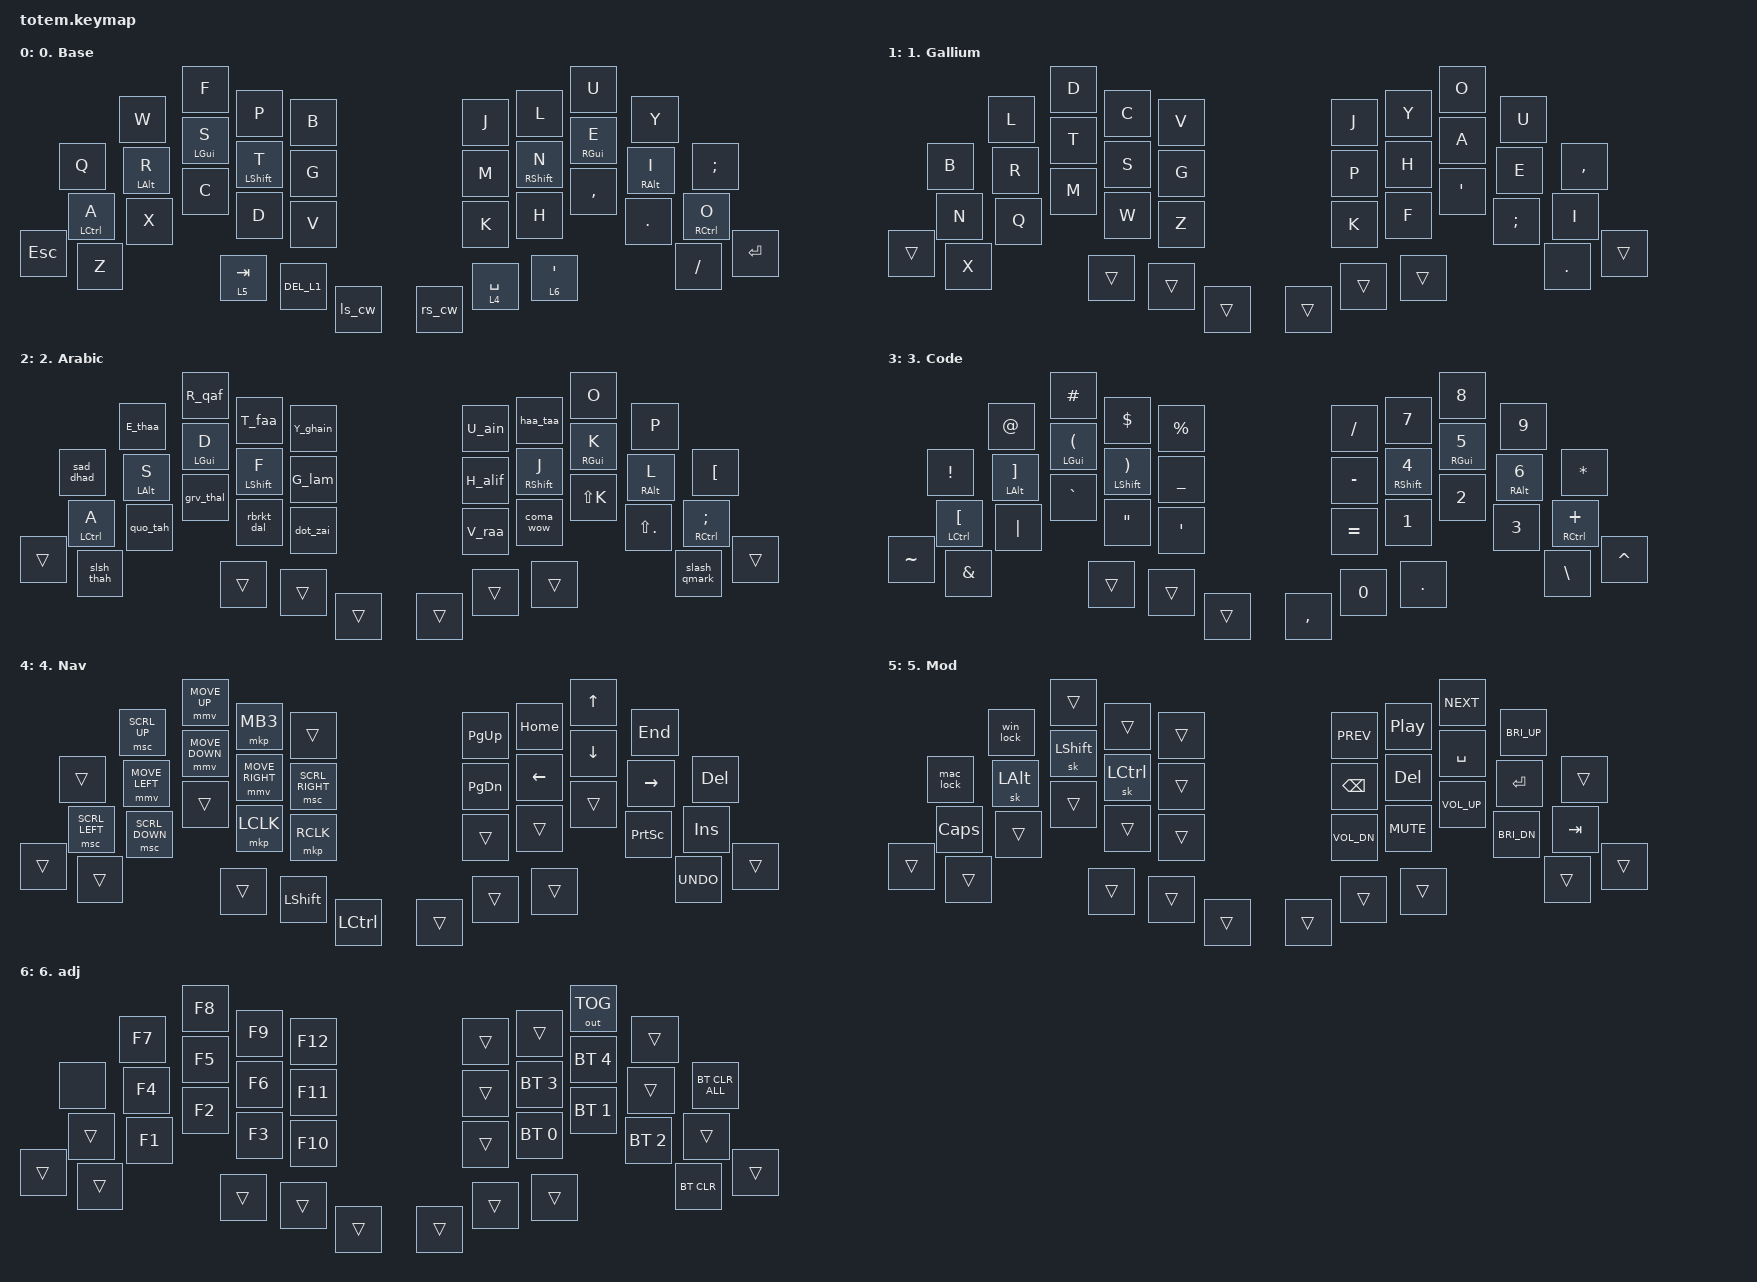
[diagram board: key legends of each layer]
#include <dt-bindings/zmk/mouse.h>
#include <behaviors.dtsi>
#include <dt-bindings/zmk/bt.h>
#include <dt-bindings/zmk/keys.h>
#include <dt-bindings/zmk/outputs.h>
#include <dt-bindings/zmk/pointing.h>

#define BASE 0
#define CODE 1
#define NAV  2
#define MOD  3
#define ADJ  4

/ {
    behaviors {
        hml: homerow_mods_left {
            compatible = "zmk,behavior-hold-tap";
            #binding-cells = <2>;
            tapping-term-ms = <200>;
            quick-tap-ms = <175>;
            require-prior-idle-ms = <300>;
            flavor = "balanced";
            bindings = <&kp>, <&kp>;

            hold-trigger-key-positions = <5 6 7 8 9 15 16 17 18 19 26 27 28 29 30 31 35 36 37>;
            hold-trigger-on-release;
        };

        hmr: homerow_mods_right {
            compatible = "zmk,behavior-hold-tap";
            #binding-cells = <2>;
            tapping-term-ms = <200>;
            quick-tap-ms = <175>;
            require-prior-idle-ms = <300>;
            flavor = "balanced";
            bindings = <&kp>, <&kp>;

            hold-trigger-key-positions = <0 1 2 3 4 10 11 12 13 14 20 21 22 23 24 25 32 33 34>;
            hold-trigger-on-release;
        };

        td_bs_pipe: backslash_pipe {
            compatible = "zmk,behavior-hold-tap";
            #binding-cells = <2>;
            tapping-term-ms = <200>;
            flavor = "tap-preferred";
            bindings = <&kp>, <&kp>;
        };

        DEL_L1: DEL_L1 {
            compatible = "zmk,behavior-tap-dance";
            label = "DEL_L1";
            #binding-cells = <0>;
            bindings = <&lt 3 BACKSPACE>, <&kp LC(BACKSPACE)>;
        };

        ls_cw: ls_cw {
            compatible = "zmk,behavior-tap-dance";
            label = "LS_CW";
            #binding-cells = <0>;
            bindings = <&sk LSHFT>, <&caps_word>;
        };

        rs_cw: rs_cw {
            compatible = "zmk,behavior-tap-dance";
            label = "RS_CW";
            #binding-cells = <0>;
            bindings = <&sk RSHFT>, <&caps_word>;
        };

        slsh_thah: slsh_thah {
            compatible = "zmk,behavior-mod-morph";
            label = "SLSH_THAH";
            bindings = <&kp SLASH>, <&none>;

            #binding-cells = <0>;
            mods = <(MOD_RSFT|MOD_LSFT)>;
        };

        quo_tah: quo_tah {
            compatible = "zmk,behavior-mod-morph";
            label = "QUO_TAH";
            bindings = <&kp SINGLE_QUOTE>, <&kp N>;

            #binding-cells = <0>;
            mods = <(MOD_RSFT)>;
        };

        grv_thal: grv_thal {
            compatible = "zmk,behavior-mod-morph";
            label = "GRV_THAL";
            bindings = <&kp GRAVE>, <&kp Z>;

            #binding-cells = <0>;
            mods = <(MOD_RSFT)>;
        };

        rbrkt_dal: rbrkt_dal {
            compatible = "zmk,behavior-mod-morph";
            label = "RBRKT_DAL";
            bindings = <&kp RBKT>, <&kp X>;

            #binding-cells = <0>;
            mods = <(MOD_RSFT)>;
        };

        dot_zai: dot_zai {
            compatible = "zmk,behavior-mod-morph";
            label = "DOT_ZAI";
            bindings = <&kp DOT>, <&kp H>;

            #binding-cells = <0>;
            mods = <(MOD_RSFT)>;
            keep-mods = <(MOD_RSFT)>;
        };

        V_raa: V_raa {
            compatible = "zmk,behavior-mod-morph";
            label = "V_RAA";
            bindings = <&kp V>, <&kp Y>;

            #binding-cells = <0>;
            mods = <(MOD_LSFT)>;
            keep-mods = <(MOD_LSFT)>;
        };

        coma_wow: coma_wow {
            compatible = "zmk,behavior-mod-morph";
            label = "COMA_WOW";
            bindings = <&kp COMMA>, <&kp C>;

            #binding-cells = <0>;
            mods = <(MOD_LSFT)>;
        };

        E_thaa: E_thaa {
            compatible = "zmk,behavior-mod-morph";
            label = "E_THAA";
            bindings = <&kp E>, <&kp A>;

            #binding-cells = <0>;
            mods = <(MOD_RSFT)>;
            keep-mods = <(MOD_RSFT)>;
        };

        R_qaf: R_qaf {
            compatible = "zmk,behavior-mod-morph";
            label = "R_QAF";
            bindings = <&kp R>, <&kp S>;

            #binding-cells = <0>;
            mods = <(MOD_RSFT)>;
            keep-mods = <(MOD_RSFT)>;
        };

        T_faa: T_faa {
            compatible = "zmk,behavior-mod-morph";
            label = "T_FAA";
            bindings = <&kp T>, <&kp E>;

            #binding-cells = <0>;
            mods = <(MOD_RSFT)>;
            keep-mods = <(MOD_RSFT)>;
        };

        Y_ghain: Y_ghain {
            compatible = "zmk,behavior-mod-morph";
            label = "Y_GHAIN";
            bindings = <&kp Y>, <&kp R>;

            #binding-cells = <0>;
            mods = <(MOD_RSFT)>;
            keep-mods = <(MOD_RSFT)>;
        };

        U_ain: U_ain {
            compatible = "zmk,behavior-mod-morph";
            label = "U_AIN";
            bindings = <&kp U>, <&kp X>;

            #binding-cells = <0>;
            mods = <(MOD_LSFT)>;
            keep-mods = <(MOD_LSFT)>;
        };

        I_haa: I_haa {
            compatible = "zmk,behavior-mod-morph";
            label = "I_HAA";
            bindings = <&kp I>, <&kp GRAVE>;

            #binding-cells = <0>;
            mods = <(MOD_LSFT)>;
            keep-mods = <(MOD_LSFT)>;
        };

        slash_qmark: slash_qmark {
            compatible = "zmk,behavior-mod-morph";
            label = "SLASH_QMARK";
            bindings = <&kp RS(L)>, <&kp QMARK>;

            #binding-cells = <0>;
            mods = <(MOD_LSFT)>;
        };

        H_alif: H_alif {
            compatible = "zmk,behavior-mod-morph";
            label = "H_ALIF";
            bindings = <&kp H>, <&kp N>;

            #binding-cells = <0>;
            mods = <(MOD_LSFT)>;
            keep-mods = <(MOD_LSFT)>;
        };

        G_lam: G_lam {
            compatible = "zmk,behavior-mod-morph";
            label = "G_LAM";
            bindings = <&kp G>, <&none>;

            #binding-cells = <0>;
            mods = <(MOD_RSFT)>;
        };

        H_Vox: H_Vox {
            compatible = "zmk,behavior-hold-tap";
            label = "H_VOX";
            bindings = <&mc_vox>, <&kp>;

            #binding-cells = <2>;
            tapping-term-ms = <200>;
        };

        haa_taa: haa_taa {
            compatible = "zmk,behavior-tap-dance";
            label = "HAA_TAA";
            #binding-cells = <0>;
            bindings = <&I_haa>, <&kp M>;
        };

        sad_dhad: sad_dhad {
            compatible = "zmk,behavior-tap-dance";
            label = "SAD_DHAD";
            #binding-cells = <0>;
            bindings = <&kp W>, <&kp Q>;
        };
    };

    combos {
        compatible = "zmk,combos";

        combo_esc {
            timeout-ms = <50>;
            key-positions = <0 1>;
            bindings = <&kp ESC>;
            layers = <0>;
        };

        combo_dictation {
            timeout-ms = <50>;
            key-positions = <26 27>;
            bindings = <&kp LA(SPACE)>;
            slow-release;
            layers = <0>;
        };

        combo_enye {
            timeout-ms = <50>;
            key-positions = <8 9>;
            bindings = <&kp RA(N)>;
            layers = <0>;
        };

        language {
            bindings = <&lang_lx>;
            key-positions = <30 29>;
        };

        gallium {
            bindings = <&tog 1>;
            key-positions = <21 22>;
        };
    };

    macros {
        email: email {
            compatible = "zmk,behavior-macro";
            label = "EMAIL";
            #binding-cells = <0>;
            bindings = <&kp A &kp K &kp AT &kp A &kp L &kp I &kp K &kp A &kp R &kp A &kp M &kp DOT &kp C &kp O &kp M>;
        };

        lang_lx: lang_lx {
            compatible = "zmk,behavior-macro";
            #binding-cells = <0>;
            bindings = <&kp RC(SPACE)>, <&macro_wait_time 500>, <&tog 2>;

            label = "LANG_LX";
        };

        mc_vox: mc_vox {
            compatible = "zmk,behavior-macro";
            #binding-cells = <0>;
            wait-ms = <20>;
            tap-ms = <20>;
            bindings =
                <&macro_press>,
                <&kp LGUI>,
                <&macro_press>,
                <&kp LCTRL>,
                <&macro_tap>,
                <&kp X>,
                <&macro_release>,
                <&kp LCTRL>,
                <&macro_release>,
                <&kp LGUI>;

            label = "MC_VOX";
        };

        mac_lock: mac_lock_screen {
            compatible = "zmk,behavior-macro";
            #binding-cells = <0>;
            bindings =
                <&macro_press>,
                <&kp LGUI &kp LCTRL>,
                <&macro_pause_for_release>,
                <&macro_tap>,
                <&kp Q>,
                <&macro_release>,
                <&kp LGUI &kp LCTRL>;
        };

        win_lock: win_lock_screen {
            compatible = "zmk,behavior-macro";
            #binding-cells = <0>;
            bindings =
                <&macro_press>,
                <&kp LGUI>,
                <&macro_tap>,
                <&kp L>,
                <&macro_release>,
                <&kp LGUI>;
        };
    };

    keymap {
        compatible = "zmk,keymap";

        base_layer {
            display-name = "0. Base";
            bindings = <
         &kp Q         &kp W        &kp F        &kp P          &kp B     &kp J   &kp L         &kp U               &kp Y        &kp SEMI
         &hml LCTRL A  &hml LALT R  &hml LGUI S  &hml LSHIFT T  &kp G     &kp M   &hmr RSHFT N  &hmr RGUI E         &hmr RALT I  &hmr RCTRL O
&kp ESC  &kp Z         &kp X        &kp C        &kp D          &kp V     &kp K   &kp H         &kp COMMA           &kp DOT      &kp FSLH      &kp ENTER
                                    &lt 5 TAB    &DEL_L1        &ls_cw    &rs_cw  &lt 4 SPACE   &lt 6 SINGLE_QUOTE
            >;
        };

        gallium_layout {
            display-name = "1. Gallium";
            bindings = <
        &kp B  &kp L  &kp D   &kp C   &kp V     &kp J   &kp Y   &kp O     &kp U     &kp COMMA
        &kp N  &kp R  &kp T   &kp S   &kp G     &kp P   &kp H   &kp A     &kp E     &kp I
&trans  &kp X  &kp Q  &kp M   &kp W   &kp Z     &kp K   &kp F   &kp APOS  &kp SEMI  &kp DOT    &trans
                      &trans  &trans  &trans    &trans  &trans  &trans
            >;
        };

        arabic_layer {
            display-name = "2. Arabic ";
            bindings = <
        &sad_dhad     &E_thaa      &R_qaf       &T_faa        &Y_ghain    &U_ain   &haa_taa      &kp O        &kp P        &kp LEFT_BRACKET
        &hml LCTRL A  &hml LALT S  &hml LGUI D  &hml LSHFT F  &G_lam      &H_alif  &hmr RSHFT J  &hmr RGUI K  &hmr RALT L  &hmr RCTRL SEMI
&trans  &slsh_thah    &quo_tah     &grv_thal    &rbrkt_dal    &dot_zai    &V_raa   &coma_wow     &kp LS(K)    &kp LS(DOT)  &slash_qmark      &trans
                                   &trans       &trans        &trans      &trans   &trans        &trans
            >;
        };

        code_layer {
            display-name = "3. Code";
            bindings = <
           &kp EXCL         &kp AT          &kp HASH        &kp DLLR         &kp PRCNT    &kp FSLH   &kp N7         &kp N8        &kp N9        &kp STAR
           &hml LCTRL LBKT  &hml LALT RBKT  &hml LGUI LPAR  &hml LSHFT RPAR  &kp UNDER    &kp MINUS  &hmr RSHFT N4  &hmr RGUI N5  &hmr RALT N6  &hmr RCTRL PLUS
&kp TILDE  &kp AMPS         &kp PIPE        &kp GRAVE       &kp DQT          &kp SQT      &kp EQUAL  &kp N1         &kp N2        &kp N3        &kp BSLH         &kp CARET
                                            &trans          &trans           &trans       &kp COMMA  &kp N0         &kp DOT
            >;
        };

        nav_layer {
            display-name = "4. Nav";
            bindings = <
        &trans          &msc SCRL_UP    &mmv MOVE_UP    &mkp MB3         &trans             &kp PG_UP  &kp HOME  &kp UP    &kp END    &kp DEL
        &msc SCRL_LEFT  &mmv MOVE_LEFT  &mmv MOVE_DOWN  &mmv MOVE_RIGHT  &msc SCRL_RIGHT    &kp PG_DN  &kp LEFT  &kp DOWN  &kp RIGHT  &kp INS
&trans  &trans          &msc SCRL_DOWN  &trans          &mkp LCLK        &mkp RCLK          &trans     &trans    &trans    &kp PSCRN  &kp K_UNDO  &trans
                                        &trans          &kp LSHFT        &kp LCTRL          &trans     &trans    &trans
            >;
        };

        mod_layer {
            display-name = "5. Mod";
            bindings = <
        &mac_lock  &win_lock  &trans     &trans     &trans    &kp C_PREV    &kp C_PP    &kp C_NEXT    &kp C_BRI_UP  &trans
        &kp CAPS   &sk LALT   &sk LSHFT  &sk LCTRL  &trans    &kp BSPC      &kp DEL     &kp SPACE     &kp ENTER     &kp TAB
&trans  &trans     &trans     &trans     &trans     &trans    &kp C_VOL_DN  &kp C_MUTE  &kp C_VOL_UP  &kp C_BRI_DN  &trans   &trans
                              &trans     &trans     &trans    &trans        &trans      &trans
            >;
        };

        /* ADJ layer:
         * - &none key position is a placeholder for ZMK Studio
         * - To enable: uncomment studio lines in totem.conf, replace &none with
         *   &studio_unlock, and add snippet+cmake-args to build.yaml (left side only)
         */

        adj_layer {
            display-name = "6. adj";
            bindings = <
        &none   &kp F7  &kp F8  &kp F9  &kp F12    &trans  &trans        &out OUT_TOG  &trans        &bt BT_CLR_ALL
        &trans  &kp F4  &kp F5  &kp F6  &kp F11    &trans  &bt BT_SEL 3  &bt BT_SEL 4  &trans        &trans
&trans  &trans  &kp F1  &kp F2  &kp F3  &kp F10    &trans  &bt BT_SEL 0  &bt BT_SEL 1  &bt BT_SEL 2  &bt BT_CLR      &trans
                        &trans  &trans  &trans     &trans  &trans        &trans
            >;
        };
    };
};

&sk {
    release-after-ms = <2000>;
    quick-release;
};
